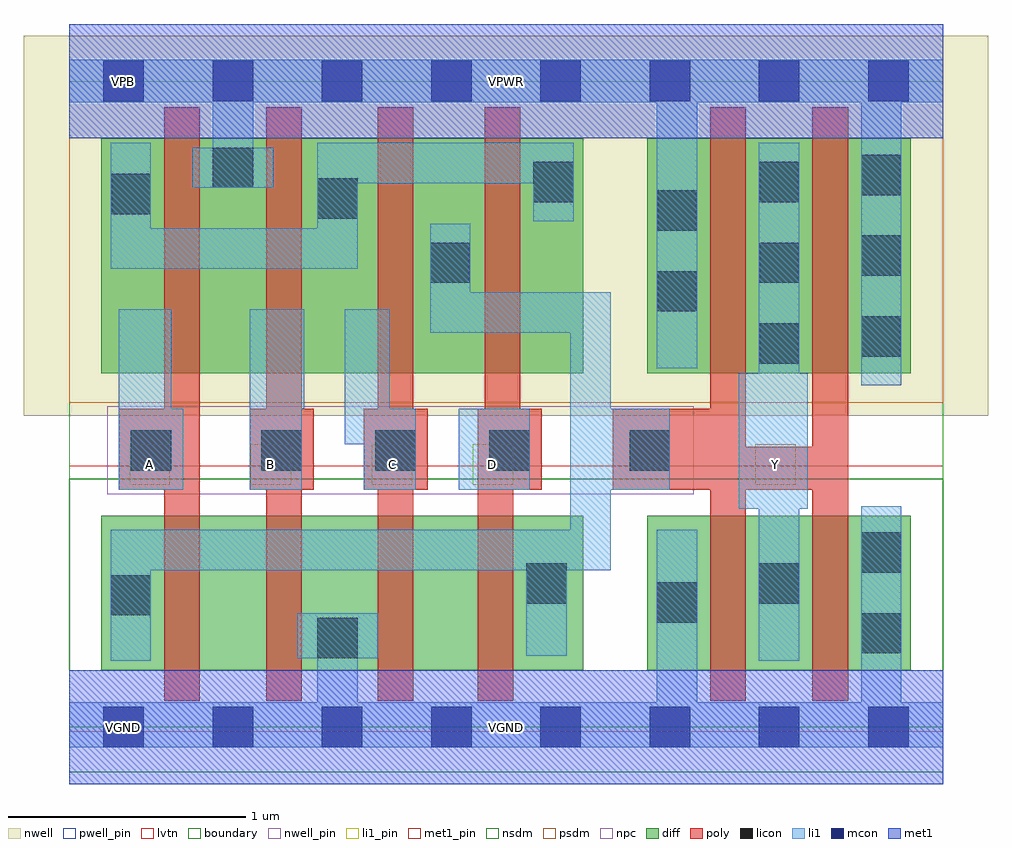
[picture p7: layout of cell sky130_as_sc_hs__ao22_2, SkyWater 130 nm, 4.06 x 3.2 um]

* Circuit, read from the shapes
.subckt sky130_as_sc_hs__ao22_2 A B C D VGND VNB VPB VPWR Y
XM1 n1 A n2 VNB sky130_fd_pr__nfet_01v8_lvt w=0.65 l=0.15
XM2 VGND B n1 VNB sky130_fd_pr__nfet_01v8_lvt w=0.65 l=0.15
XM3 n3 C VGND VNB sky130_fd_pr__nfet_01v8_lvt w=0.65 l=0.15
XM4 n2 D n3 VNB sky130_fd_pr__nfet_01v8_lvt w=0.65 l=0.15
XM5 Y n2 VGND VNB sky130_fd_pr__nfet_01v8_lvt w=0.65 l=0.15 m=2
XM6 VPWR A n4 VPB sky130_fd_pr__pfet_01v8 w=0.99 l=0.15
XM7 n4 B VPWR VPB sky130_fd_pr__pfet_01v8 w=0.99 l=0.15
XM8 n2 C n4 VPB sky130_fd_pr__pfet_01v8 w=0.99 l=0.15
XM9 n4 D n2 VPB sky130_fd_pr__pfet_01v8 w=0.99 l=0.15
XM10 Y n2 VPWR VPB sky130_fd_pr__pfet_01v8 w=0.99 l=0.15 m=2
.ends

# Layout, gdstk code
import gdstk
lib = gdstk.Library(unit=1e-6, precision=1e-09)
def R(c, l, rs):  # rectangles x0, y0, x1, y1
    for r in rs: c.add(gdstk.rectangle(r[:2], r[2:], *l))
def A(c, l, x, y, w, h, nx, ny, dx, dy):  # array of equal rectangles
    R(c, l, [(x+i*dx, y+j*dy, x+i*dx+w, y+j*dy+h) for i in range(nx) for j in range(ny)])
nwell_pin = (64, 16)
nwell = (64, 20)
diff = (65, 20)
poly = (66, 20)
licon = (66, 44)
li1_pin = (67, 16)
li1 = (67, 20)
mcon = (67, 44)
met1_pin = (68, 16)
met1 = (68, 20)
nsdm = (93, 44)
psdm = (94, 20)
npc = (95, 20)
pwell_pin = (122, 16)
lvtn = (125, 44)
boundary = (235, 4)

sky130_as_sc_hs__ao22_2 = lib.new_cell('sky130_as_sc_hs__ao22_2')
R(sky130_as_sc_hs__ao22_2, nwell_pin, [(0.145,2.635,0.315,2.805)])
R(sky130_as_sc_hs__ao22_2, nwell, [(-0.19,1.31,3.87,2.91)])
R(sky130_as_sc_hs__ao22_2, diff, [(0.135,0.24,2.165,0.89), (2.435,0.24,3.545,0.89), (0.135,1.49,2.165,2.48), (2.435,1.49,3.545,2.48)])
A(sky130_as_sc_hs__ao22_2, poly, 0.76, 1, 0.27, 0.34, 3, 1, 0.48, 0)
R(sky130_as_sc_hs__ao22_2, poly, [(0.4,0.11,0.55,1), (0.83,0.11,0.98,1), (1.3,0.11,1.45,1), (1.72,0.11,1.87,1), (2.7,0.11,2.85,1), (3.13,0.11,3.28,1), (0.21,1,0.55,1.34), (2.29,1,3.28,1.18), (2.29,1.18,2.85,1.34), (3.13,1.18,3.28,2.61), (0.4,1.34,0.55,2.61), (0.83,1.34,0.98,2.61), (1.3,1.34,1.45,2.61), (1.75,1.34,1.9,2.61), (2.7,1.34,2.85,2.61)])
A(sky130_as_sc_hs__ao22_2, licon, 0.81, 1.08, 0.17, 0.17, 3, 1, 0.48, 0)
A(sky130_as_sc_hs__ao22_2, licon, 2.905, 1.53, 0.17, 0.17, 1, 3, 0, 0.34)
A(sky130_as_sc_hs__ao22_2, licon, 3.335, 1.56, 0.17, 0.17, 1, 3, 0, 0.34)
R(sky130_as_sc_hs__ao22_2, licon, [(1.045,0.29,1.215,0.46), (3.335,0.31,3.505,0.48), (2.475,0.44,2.645,0.61), (0.175,0.47,0.345,0.64), (1.925,0.52,2.095,0.69), (2.905,0.52,3.075,0.69), (3.335,0.65,3.505,0.82), (0.26,1.08,0.43,1.25), (2.36,1.08,2.53,1.25), (2.475,1.75,2.645,1.92), (1.52,1.87,1.69,2.04), (2.475,2.09,2.645,2.26), (1.045,2.14,1.215,2.31), (0.175,2.16,0.345,2.33), (1.955,2.21,2.125,2.38), (0.605,2.27,0.775,2.44)])
A(sky130_as_sc_hs__ao22_2, li1_pin, 0.255, 1.02, 0.17, 0.17, 3, 1, 0.51, 0)
R(sky130_as_sc_hs__ao22_2, li1_pin, [(1.7,1.02,1.87,1.19), (2.89,1.02,3.06,1.19)])
R(sky130_as_sc_hs__ao22_2, li1, [(0,-0.085,3.68,0.105), (1.045,0.105,1.215,0.29), (2.475,0.105,2.645,0.83), (3.335,0.105,3.505,0.93), (0.175,0.28,0.345,0.66), (2.905,0.28,3.075,0.92), (0.96,0.29,1.3,0.48), (1.925,0.3,2.095,0.66), (0.175,0.66,2.28,0.83), (2.11,0.83,2.28,1), (2.82,0.92,3.11,1.49), (0.21,1,0.48,1.34), (0.76,1,0.98,1.34), (1.24,1,1.46,1.19), (1.64,1,1.94,1.34), (2.11,1,2.53,1.34), (1.16,1.19,1.46,1.34), (0.21,1.34,0.43,1.76), (0.76,1.34,0.99,1.76), (1.16,1.34,1.35,1.76), (2.11,1.34,2.28,1.66), (3.335,1.44,3.505,2.63), (2.905,1.49,3.075,2.46), (2.475,1.51,2.645,2.63), (1.52,1.66,2.28,1.83), (1.52,1.83,1.69,2.12), (0.175,1.93,1.215,2.1), (0.175,2.1,0.345,2.46), (1.045,2.1,1.215,2.29), (1.955,2.13,2.125,2.29), (0.52,2.27,0.86,2.44), (1.045,2.29,2.125,2.46), (0.605,2.44,0.775,2.63), (0,2.63,3.68,2.81)])
A(sky130_as_sc_hs__ao22_2, mcon, 0.145, -0.085, 0.17, 0.17, 8, 2, 0.46, 2.72)
R(sky130_as_sc_hs__ao22_2, met1_pin, [(0,-0.24,3.68,0.24), (0.145,-0.085,0.315,0.085), (0,2.48,3.68,2.96), (0.145,2.635,0.315,2.805)])
R(sky130_as_sc_hs__ao22_2, met1, [(0,-0.24,3.68,0.24), (0,2.48,3.68,2.96)])
R(sky130_as_sc_hs__ao22_2, nsdm, [(0,-0.19,3.68,1.045)])
R(sky130_as_sc_hs__ao22_2, psdm, [(0,1.365,3.68,2.91)])
R(sky130_as_sc_hs__ao22_2, npc, [(0.16,0.98,2.63,1.35)])
R(sky130_as_sc_hs__ao22_2, pwell_pin, [(0.145,-0.085,0.315,0.085)])
R(sky130_as_sc_hs__ao22_2, lvtn, [(0,-0.02,3.68,1.1)])
R(sky130_as_sc_hs__ao22_2, boundary, [(0,0,3.68,2.72)])
sky130_as_sc_hs__ao22_2.add(gdstk.Label('VPB', (0.23,2.72), layer=64, texttype=5))
sky130_as_sc_hs__ao22_2.add(gdstk.Label('VPB', (0.23,2.72), layer=64, texttype=5))
sky130_as_sc_hs__ao22_2.add(gdstk.Label('VGND', (0.23,0), layer=68, texttype=5))
sky130_as_sc_hs__ao22_2.add(gdstk.Label('VGND', (1.84,0), layer=68, texttype=5))
sky130_as_sc_hs__ao22_2.add(gdstk.Label('VPWR', (0.23,2.72), layer=68, texttype=5))
sky130_as_sc_hs__ao22_2.add(gdstk.Label('VPWR', (1.84,2.72), layer=68, texttype=5))
sky130_as_sc_hs__ao22_2.add(gdstk.Label('VNB', (0.23,0), layer=64, texttype=59))
sky130_as_sc_hs__ao22_2.add(gdstk.Label('VNB', (0.23,0), layer=64, texttype=59))
sky130_as_sc_hs__ao22_2.add(gdstk.Label('D', (1.785,1.105), layer=67, texttype=5))
sky130_as_sc_hs__ao22_2.add(gdstk.Label('D', (1.785,1.105), layer=67, texttype=5))
sky130_as_sc_hs__ao22_2.add(gdstk.Label('Y', (2.975,1.105), layer=67, texttype=5))
sky130_as_sc_hs__ao22_2.add(gdstk.Label('Y', (2.975,1.105), layer=67, texttype=5))
sky130_as_sc_hs__ao22_2.add(gdstk.Label('B', (0.85,1.105), layer=67, texttype=5))
sky130_as_sc_hs__ao22_2.add(gdstk.Label('B', (0.85,1.105), layer=67, texttype=5))
sky130_as_sc_hs__ao22_2.add(gdstk.Label('C', (1.36,1.105), layer=67, texttype=5))
sky130_as_sc_hs__ao22_2.add(gdstk.Label('C', (1.36,1.105), layer=67, texttype=5))
sky130_as_sc_hs__ao22_2.add(gdstk.Label('A', (0.34,1.105), layer=67, texttype=5))
sky130_as_sc_hs__ao22_2.add(gdstk.Label('A', (0.34,1.105), layer=67, texttype=5))

lib.write_gds('sky130_as_sc_hs__ao22_2.gds')
